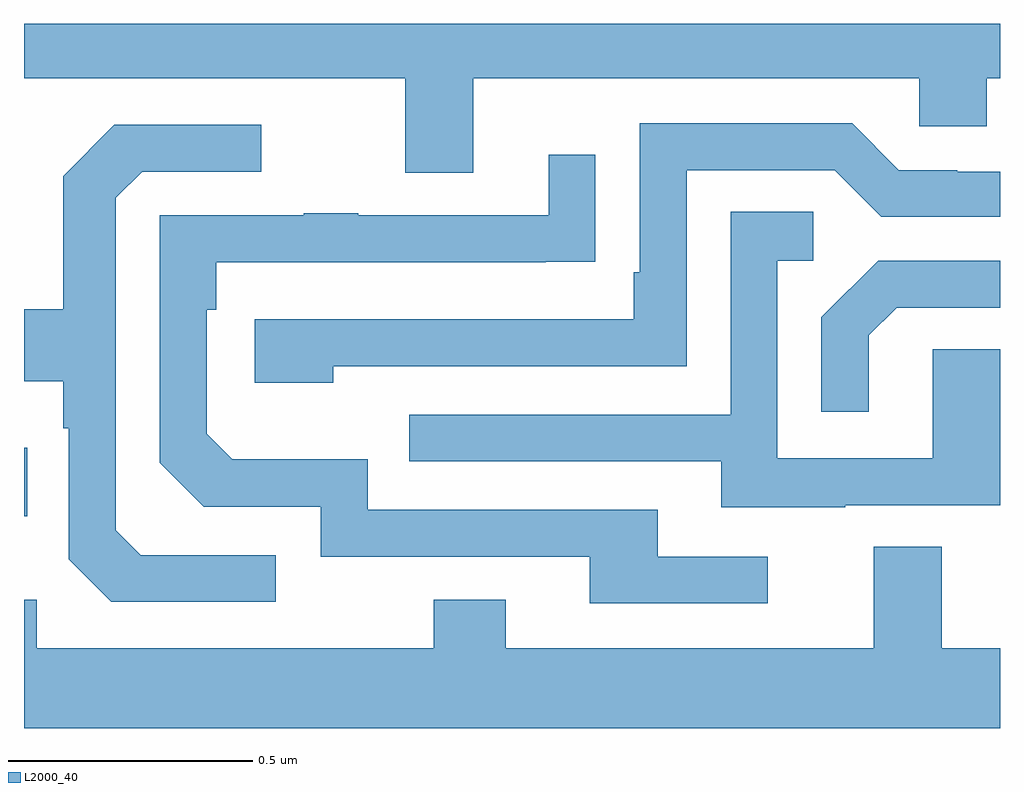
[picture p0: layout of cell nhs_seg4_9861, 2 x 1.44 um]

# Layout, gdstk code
import gdstk
lib = gdstk.Library(unit=1e-6, precision=1e-09)
def R(c, l, rs):  # rectangles x0, y0, x1, y1
    for r in rs: c.add(gdstk.rectangle(r[:2], r[2:], *l))
def P(c, l, *ps):  # polygons
    for p in ps: c.add(gdstk.Polygon(p, *l))
L2000_40 = (2000, 40)

nhs_seg4_9861 = lib.new_cell('nhs_seg4_9861')
R(nhs_seg4_9861, L2000_40, [(232,827.891,232.007,828.031)])
P(nhs_seg4_9861, L2000_40, [(232.921,828.788),(233.835,828.788),(233.835,828.69),(233.973,828.69),(233.973,828.788),(234,828.788),(234,828.9),(232,828.9),(232,828.788),(232.781,828.788),(232.781,828.594),(232.921,828.594)],
  [(232.634,828.198),(233.358,828.198),(233.358,828.6),(233.661,828.6),(233.757,828.504),(234,828.504),(234,828.597),(233.912,828.597),(233.912,828.6),(233.793,828.6),(233.697,828.696),(233.262,828.696),(233.262,828.391),(233.249,828.391),(233.249,828.294),(232.473,828.294),(232.473,828.164),(232.634,828.164)],
  [(232.516,827.811),(232.239,827.811),(232.188,827.862),(232.188,828.543),(232.242,828.597),(232.486,828.597),(232.486,828.693),(232.185,828.693),(232.08,828.587),(232.08,828.315),(232,828.315),(232,828.167),(232.08,828.167),(232.08,828.071),(232.092,828.071),(232.092,827.802),(232.179,827.715),(232.516,827.715)],
  [(233.524,827.808),(233.299,827.808),(233.299,827.904),(232.704,827.904),(232.704,828.007),(232.427,828.007),(232.374,828.06),(232.374,828.314),(232.394,828.314),(232.394,828.411),(233.069,828.411),(233.069,828.412),(233.171,828.412),(233.171,828.631),(233.075,828.631),(233.075,828.507),(232.685,828.507),(232.685,828.512),(232.573,828.512),(232.573,828.507),(232.278,828.507),(232.278,828),(232.368,827.91),(232.608,827.91),(232.608,827.808),(233.159,827.808),(233.159,827.712),(233.524,827.712)],
  [(233.683,827.913),(234,827.913),(234,828.233),(233.862,828.233),(233.862,828.009),(233.544,828.009),(233.544,828.414),(233.617,828.414),(233.617,828.515),(233.448,828.515),(233.448,828.099),(232.789,828.099),(232.789,828.003),(233.429,828.003),(233.429,827.909),(233.683,827.909)],
  [(233.731,828.261),(233.788,828.318),(234,828.318),(234,828.414),(233.75,828.414),(233.634,828.298),(233.634,828.105),(233.731,828.105)],
  [(234,827.62),(233.881,827.62),(233.881,827.828),(233.741,827.828),(233.741,827.62),(232.987,827.62),(232.987,827.719),(232.84,827.719),(232.84,827.62),(232.026,827.62),(232.026,827.719),(232,827.719),(232,827.456),(234,827.456)])

lib.write_gds('nhs_seg4_9861.gds')
